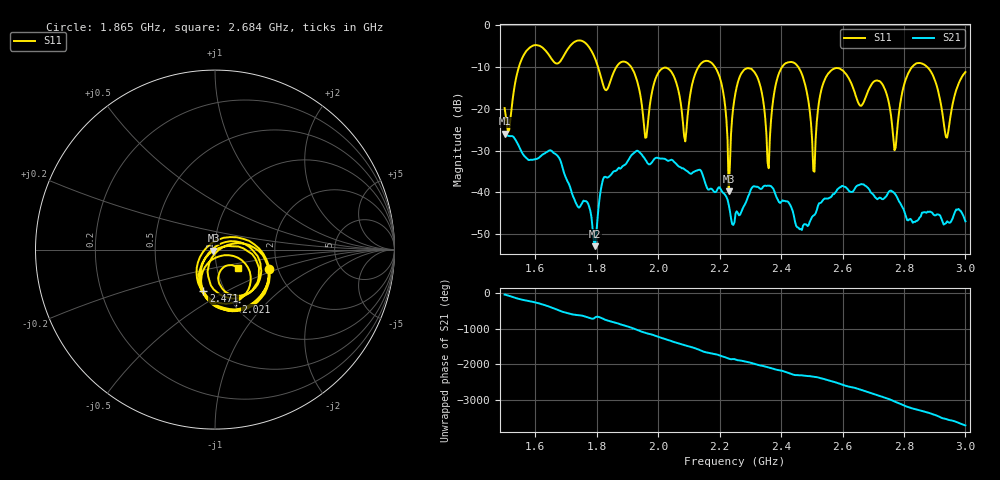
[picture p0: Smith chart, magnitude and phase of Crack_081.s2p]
# HZ S RI R 50
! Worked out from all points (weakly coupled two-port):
!   404 points, 1.5 GHz to 3 GHz, reference 50 ohm
!   highest |S21| = -25.96 dB at 1.5 GHz (marker M1); lowest = -52.9 dB at 1.794 GHz (marker M2)
!   lowest |S11| = -39.7 dB at 2.23 GHz (marker M3), VSWR 1.02, Z = 49.1 - j0.553 ohm
!   |S11| at or under -10 dB: 1.912 GHz to 2.131 GHz (218.4 MHz wide, 10.8 % of centre); 2.185 GHz to 2.403 GHz (217.7 MHz wide, 9.49 % of centre); 2.457 GHz to 2.826 GHz (369.5 MHz wide, 14 % of centre) (the widest 3 of 6)
!   S12 and S22 are empty: the file has one direction only
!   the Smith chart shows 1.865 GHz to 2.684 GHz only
!   S11 on the Smith chart (normalised r, x): 1.865 GHz: 1.80, -0.43; 2.021 GHz: 1.05, -0.67; 2.471 GHz: 0.80, -0.39; 2.684 GHz: 1.26, -0.27
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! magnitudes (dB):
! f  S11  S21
! 1.5 GHz  -19.8  -26.0
! 1.753 GHz  -3.7  -42.5
! 1.794 GHz  -7.8  -52.9
! 1.865 GHz  -9.9  -34.7
! 1.958 GHz  -26.9  -32.1
! 2.002 GHz  -11.1  -31.8
! 2.021 GHz  -10.1  -32.0
! 2.088 GHz  -27.8  -34.6
! 2.181 GHz  -9.6  -39.8
! 2.23 GHz  -39.7  -43.0
! 2.252 GHz  -16.0  -45.0
! 2.315 GHz  -11.4  -38.6
! 2.36 GHz  -34.2  -38.4
! 2.401 GHz  -10.2  -42.3
! 2.471 GHz  -12.5  -48.0
! 2.501 GHz  -27.6  -45.9
! 2.561 GHz  -10.9  -41.2
! 2.684 GHz  -15.7  -39.0
! 2.751 GHz  -18.4  -39.8
! 2.862 GHz  -9.3  -44.8
! 2.94 GHz  -26.9  -46.9
! 3 GHz  -11.2  -46.9
